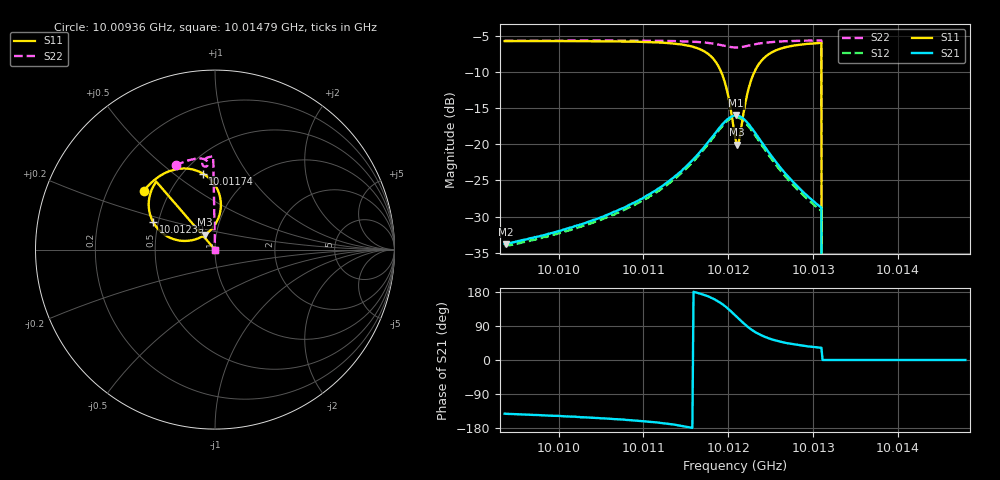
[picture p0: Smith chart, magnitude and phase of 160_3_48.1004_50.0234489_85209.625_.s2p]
#  HZ  S  RI  R  50.00
! Rohde & Schwarz Vector Network Analyzer
! Rohde-Schwarz,ZNB20-2Port,1311601062101988,3.16
! Created: UTC 12/23/2023, 3:50:40 AM
! freq[Hz]  re:S11  im:S11  re:S21  im:S21  re:S12  im:S12  re:S22  im:S22
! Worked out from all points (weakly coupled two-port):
!   401 points, 10.00936 GHz to 10.01479 GHz, reference 50 ohm
!   highest |S21| = -16.03 dB at 10.01209 GHz (marker M1); lowest = -33.7 dB at 10.00938 GHz (marker M2)
!   lowest |S11| = -20.0 dB at 10.01211 GHz (marker M3), VSWR 1.22, Z = 44.3 + j7.46 ohm
!   |S11| at or under -10 dB: 10.01191 GHz to 10.01231 GHz (393.7 kHz wide, 0.00393 % of centre); 10.0131 GHz to end of sweep
!   |S22| runs from - to -5.7 dB; largest |S21 - S12| = 0.0076
!   S11 on the Smith chart (normalised r, x): 10.00936 GHz: 0.36, +0.32; 10.01174 GHz: 0.62, +0.64; 10.01239 GHz: 0.47, +0.17; 10.01479 GHz: 1.00, +0.00
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1.0009364e10  -0.3976 0.3265  -0.0162 -0.0127  -0.0149 -0.013  -0.2196 0.4689
1.0009378e10  -0.397 0.3274  -0.0162 -0.0127  -0.015 -0.013  -0.2187 0.4693
1.0010273e10  -0.3429 0.3834  -0.0246 -0.0137  -0.0231 -0.0143  -0.1634 0.4922
1.0011183e10  -0.2429 0.441  -0.0481 -0.0125  -0.0456 -0.0144  -0.1003 0.507
1.0011481e10  -0.1737 0.4521  -0.068 -0.00594  -0.0652 -0.00925  -0.0755 0.5072
1.0011739e10  -0.0678 0.4238  -0.0979 0.0173  -0.0956 0.0121  -0.0511 0.4992
1.0011862e10  -0.00203 0.3627  -0.1128 0.0479  -0.1121 0.0407  -0.0413 0.4883
1.0011943e10  0.0297 0.2843  -0.1148 0.0797  -0.1154 0.0724  -0.0389 0.4776
1.0011997e10  0.0301 0.2155  -0.1066 0.1053  -0.1085 0.0981  -0.0409 0.47
1.0012079e10  -0.0226 0.1105  -0.0749 0.1389  -0.0785 0.1322  -0.0508 0.4621
1.0012092e10  -0.0372 0.0966  -0.0679 0.1426  -0.0716 0.136  -0.0528 0.4619
1.0012106e10  -0.0543 0.0835  -0.0601 0.1457  -0.0642 0.1394  -0.0549 0.4617
1.0012133e10  -0.0905 0.0637  -0.045 0.1494  -0.0486 0.1435  -0.0591 0.4624
1.0012201e10  -0.1867 0.049  -0.00718 0.1455  -0.0116 0.1404  -0.0677 0.4686
1.0012255e10  -0.2526 0.0669  0.0165 0.133  0.0113 0.1286  -0.0708 0.476
1.0012391e10  -0.3445 0.1532  0.0436 0.0939  0.0387 0.0913  -0.0671 0.4935
1.0012608e10  -0.3689 0.2662  0.0459 0.0524  0.0417 0.0518  -0.0497 0.509
1.0012988e10  -0.3379 0.3625  0.0338 0.0236  0.031 0.0241  -0.0184 0.5187
1.001307e10  -0.3301 0.3749  0.0316 0.0202  0.0291 0.0209  -0.0121 0.5195
1.0013137e10  0 0  0 0  0 0  0 0
1.0013898e10  0 0  0 0  0 0  0 0
1.0014793e10  0 0  0 0  0 0  0 0
